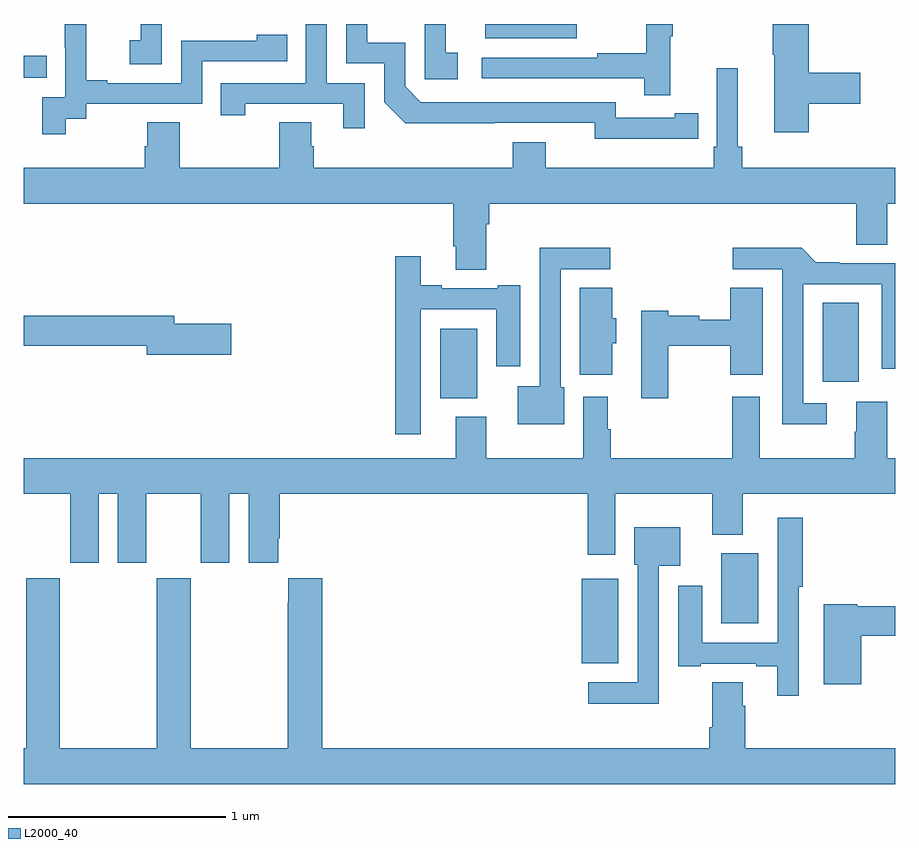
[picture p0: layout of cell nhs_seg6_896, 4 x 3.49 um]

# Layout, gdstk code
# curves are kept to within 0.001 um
import gdstk
lib = gdstk.Library(unit=1e-6, precision=1e-09)
def R(c, l, rs):  # rectangles x0, y0, x1, y1
    for r in rs: c.add(gdstk.rectangle(r[:2], r[2:], *l))
def P(c, l, *ps):  # polygons
    for p in ps: c.add(gdstk.Polygon(p, *l))
L2000_40 = (2000, 40)

nhs_seg6_896 = lib.new_cell('nhs_seg6_896')
R(nhs_seg6_896, L2000_40, [(169.562,938.567,169.729,938.953), (170.201,938.75,170.371,939.07), (168.911,939.782,169.081,940.102), (170.666,939.858,170.833,940.22), (167,941.253,167.105,941.354), (169.118,941.435,169.537,941.5)])
P(nhs_seg6_896, L2000_40, [(169.988,940.974),(170.096,940.974),(170.096,941.09),(169.988,941.09),(169.988,941.07),(169.716,941.07),(169.716,941.142),(168.822,941.142),(168.75,941.214),(168.75,941.415),(168.577,941.415),(168.577,941.5),(168.48,941.5),(168.48,941.319),(168.654,941.319),(168.654,941.142),(168.752,941.045),(169.62,941.046),(169.62,940.973)],
  [(170.603,941.134),(170.839,941.134),(170.839,941.276),(170.603,941.276),(170.603,941.5),(170.437,941.5),(170.437,941.359),(170.444,941.359),(170.444,941.004),(170.603,941.004)],
  [(168.991,941.367),(168.938,941.367),(168.938,941.5),(168.84,941.5),(168.84,941.247),(168.991,941.247)],
  [(168.564,941.229),(168.39,941.229),(168.39,941.5),(168.294,941.5),(168.294,941.229),(167.905,941.229),(167.905,941.082),(168.016,941.082),(168.016,941.133),(168.467,941.133),(168.467,941.022),(168.564,941.022)],
  [(167.634,941.5),(167.536,941.5),(167.536,941.425),(167.487,941.425),(167.487,941.316),(167.634,941.316)],
  [(167.194,941.065),(167.286,941.065),(167.286,941.133),(167.82,941.133),(167.82,941.328),(168.209,941.328),(168.209,941.451),(168.069,941.451),(168.069,941.424),(167.724,941.424),(167.724,941.229),(167.383,941.229),(167.383,941.242),(167.288,941.242),(167.288,941.5),(167.189,941.5),(167.189,941.393),(167.19,941.393),(167.19,941.163),(167.085,941.163),(167.085,940.995),(167.194,940.995)],
  [(169.967,941.443),(169.978,941.443),(169.978,941.5),(169.857,941.5),(169.857,941.366),(169.633,941.366),(169.633,941.346),(169.101,941.346),(169.101,941.25),(169.849,941.25),(169.849,941.172),(169.967,941.172)],
  [(169.123,940.58),(169.136,940.58),(169.136,940.676),(170.822,940.676),(170.822,940.486),(170.962,940.486),(170.962,940.676),(171,940.676),(171,940.84),(170.297,940.84),(170.297,940.936),(170.278,940.936),(170.278,941.296),(170.181,941.296),(170.181,940.936),(170.168,940.936),(170.168,940.84),(169.396,940.84),(169.396,940.957),(169.244,940.957),(169.244,940.84),(168.332,940.84),(168.332,940.938),(168.319,940.938),(168.319,941.048),(168.172,941.048),(168.172,940.84),(167.715,940.84),(167.715,941.048),(167.567,941.048),(167.567,940.938),(167.555,940.938),(167.555,940.84),(167,940.84),(167,940.676),(168.971,940.676),(168.971,940.48),(168.983,940.48),(168.983,940.372),(169.123,940.372)],
  [(170.686,939.759),(170.577,939.759),(170.577,940.305),(170.937,940.305),(170.937,939.918),(171,939.918),(171,940.401),(170.743,940.401),(170.743,940.406),(170.635,940.406),(170.57,940.472),(170.253,940.472),(170.253,940.374),(170.481,940.374),(170.481,939.662),(170.686,939.662)],
  [(169.48,939.834),(169.464,939.834),(169.464,940.374),(169.693,940.374),(169.693,940.472),(169.368,940.472),(169.368,939.838),(169.268,939.838),(169.268,939.662),(169.48,939.662)],
  [(168.822,940.191),(169.169,940.191),(169.169,939.93),(169.279,939.93),(169.279,940.3),(169.175,940.3),(169.175,940.287),(168.919,940.287),(168.919,940.3),(168.823,940.3),(168.823,940.435),(168.706,940.435),(168.706,939.618),(168.822,939.618)],
  [(169.957,940.024),(170.243,940.024),(170.243,939.891),(170.392,939.891),(170.392,940.289),(170.243,940.289),(170.243,940.143),(170.1,940.143),(170.1,940.16),(169.957,940.16),(169.957,940.184),(169.835,940.184),(169.835,939.783),(169.957,939.783)],
  [(169.702,940.035),(169.72,940.035),(169.72,940.149),(169.702,940.149),(169.702,940.289),(169.553,940.289),(169.553,939.891),(169.702,939.891)],
  [(167.953,940.124),(167.692,940.124),(167.692,940.16),(167,940.16),(167,940.024),(167.564,940.024),(167.564,939.982),(167.953,939.982)],
  [(169.568,939.79),(169.568,939.508),(169.123,939.508),(169.123,939.697),(168.983,939.697),(168.983,939.508),(167,939.508),(167,939.344),(167.213,939.344),(167.213,939.027),(167.344,939.027),(167.344,939.344),(167.432,939.344),(167.432,939.027),(167.563,939.027),(167.563,939.344),(167.813,939.344),(167.813,939.027),(167.944,939.027),(167.944,939.344),(168.032,939.344),(168.032,939.027),(168.169,939.027),(168.169,939.139),(168.176,939.139),(168.176,939.344),(169.589,939.344),(169.589,939.063),(169.714,939.063),(169.714,939.344),(170.159,939.344),(170.159,939.155),(170.299,939.155),(170.299,939.344),(171,939.344),(171,939.508),(170.962,939.508),(170.962,939.766),(170.822,939.766),(170.822,939.629),(170.815,939.629),(170.815,939.508),(170.377,939.508),(170.377,939.79),(170.252,939.79),(170.252,939.508),(169.694,939.508),(169.694,939.641),(169.681,939.641),(169.681,939.79)],
  [(170.556,938.917),(170.576,938.917),(170.576,939.235),(170.46,939.235),(170.46,938.661),(170.113,938.661),(170.113,938.923),(170.003,938.923),(170.003,938.553),(170.107,938.553),(170.107,938.565),(170.363,938.565),(170.363,938.553),(170.459,938.553),(170.459,938.418),(170.556,938.418)],
  [(169.914,939.014),(170.014,939.014),(170.014,939.19),(169.802,939.19),(169.802,939.018),(169.818,939.018),(169.818,938.478),(169.59,938.478),(169.59,938.381),(169.914,938.381)],
  [(171,938.176),(170.312,938.176),(170.312,938.372),(170.299,938.372),(170.299,938.48),(170.159,938.48),(170.159,938.272),(170.147,938.272),(170.147,938.176),(168.371,938.176),(168.371,938.956),(168.215,938.956),(168.215,938.843),(168.211,938.843),(168.211,938.176),(167.766,938.176),(167.766,938.956),(167.611,938.956),(167.611,938.176),(167.166,938.176),(167.166,938.956),(167.011,938.956),(167.011,938.176),(167,938.176),(167,938.012),(171,938.012)],
  [(170.843,938.692),(171,938.692),(171,938.828),(170.826,938.828),(170.826,938.836),(170.672,938.836),(170.672,938.469),(170.843,938.469)])

lib.write_gds('nhs_seg6_896.gds')
